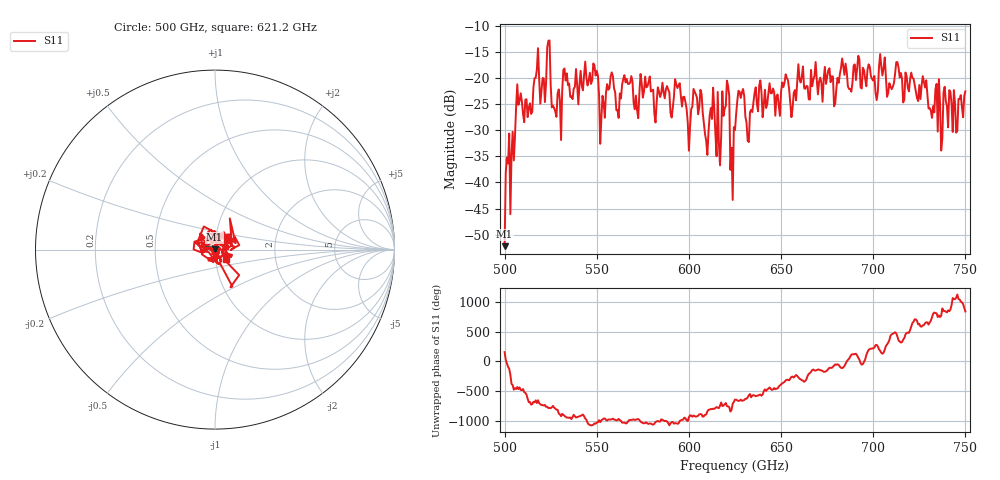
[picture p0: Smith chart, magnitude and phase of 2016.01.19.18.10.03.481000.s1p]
!Created with skrf (http://scikit-rf.org).
# GHz S RI R 50.0
!freq ReS11 ImS11
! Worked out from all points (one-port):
!   401 points, 500 GHz to 750 GHz, reference 50 ohm
!   lowest |S11| = -52.2 dB at 500 GHz (marker M1), VSWR 1.00, Z = 49.8 + j0.089 ohm
!   |S11| at or under -10 dB: start of sweep to end of sweep
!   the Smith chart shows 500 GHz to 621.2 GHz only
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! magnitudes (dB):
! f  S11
! 500 GHz  -52.2
! 507.5 GHz  -25.2
! 513.8 GHz  -24.9
! 523.8 GHz  -12.9
! 526.9 GHz  -25.8
! 531.2 GHz  -22.5
! 549.4 GHz  -19.6
! 553.1 GHz  -23.4
! 557.5 GHz  -19.7
! 562.5 GHz  -23.0
! 593.8 GHz  -21.9
! 600 GHz  -33.9
! 605.6 GHz  -25.6
! 609.4 GHz  -32.0
! 612.5 GHz  -27.8
! 616.2 GHz  -32.4
! 620.6 GHz  -20.5
! 623.8 GHz  -43.3
! 625 GHz  -30.0
! 628.1 GHz  -23.8
! 631.9 GHz  -32.0
! 637.5 GHz  -26.4
! 656.2 GHz  -25.7
! 660.6 GHz  -20.9
! 687.5 GHz  -22.1
! 718.8 GHz  -21.8
! 736.2 GHz  -24.9
! 750 GHz  -22.6
